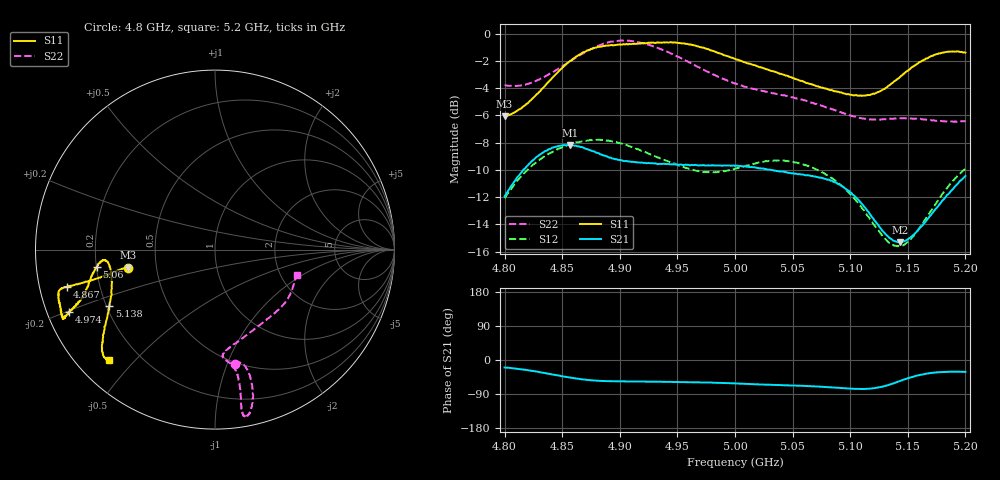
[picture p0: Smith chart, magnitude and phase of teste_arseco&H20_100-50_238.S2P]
! Network Analyzer HP8722D
! Hewlett-Packard
! Data name: Linha & Wilkinson
! Saver's name: Rodrigo Anjos
! Comments: Teste da utilização de aquisição
! continua pelo VNA HP8722D
! Time and date: 6/5/2025 14:33
!  Frequency  S11  S21  S12  S22
# HZ  S  MA R 50
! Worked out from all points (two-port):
!   401 points, 4.8 GHz to 5.2 GHz, reference 50 ohm
!   highest |S21| = -8.17 dB at 4.857 GHz (marker M1); lowest = -15.3 dB at 5.143 GHz (marker M2)
!   |S21| within 3 dB of the highest: 4.806 GHz to 5.093 GHz (286.7 MHz wide, 5.79 % of centre); 5.191409 GHz to end of sweep
!   lowest |S11| = -6.1 dB at 4.8 GHz (marker M3), VSWR 2.98, Z = 17 - j4.56 ohm
!   |S11| at or under -10 dB: nowhere
!   |S22| runs from -6.5 to -0.5 dB; largest |S21 - S12| = 0.62
!   S11 on the Smith chart (normalised r, x): 4.8 GHz: 0.34, -0.09; 4.867 GHz: 0.08, -0.12; 4.974 GHz: 0.06, -0.20; 5.06 GHz: 0.20, -0.07; 5.138 GHz: 0.21, -0.24; 5.2 GHz: 0.09, -0.42
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4.8e9  0.497 -168.2  0.2527 -19.9  0.2489 -140.9  0.648 -80.3
4.828e9  0.6011 -167.1  0.3536 -30.8  0.3387 -144.9  0.6736 -75.4
4.857e9  0.7959 -166.0  0.3903 -46.4  0.3924 -150.4  0.7932 -74.7
4.867e9  0.8486 -165.9  0.3838 -51.1  0.4027 -152.1  0.8437 -75.4
4.88e9  0.8908 -165.5  0.3656 -54.7  0.4083 -154.2  0.8989 -76.8
4.9e9  0.914 -162.8  0.3437 -56.5  0.3963 -156.5  0.9432 -79.2
4.934e9  0.9278 -156.6  0.3326 -57.6  0.3506 -155.7  0.8831 -80.5
4.953e9  0.9243 -155.6  0.3309 -58.1  0.3261 -152.1  0.8136 -79.9
4.974e9  0.8843 -156.9  0.3282 -59.3  0.3112 -145.6  0.733 -79.6
5e9  0.809 -159.0  0.327 -61.8  0.3194 -137.3  0.6563 -81.2
5.036e9  0.7222 -165.8  0.3132 -66.0  0.3419 -134.4  0.6009 -85.7
5.06e9  0.6661 -171.7  0.303 -68.3  0.3302 -136.2  0.5694 -84.2
5.067e9  0.6514 -173.2  0.3004 -69.1  0.3225 -136.8  0.5584 -82.7
5.084e9  0.6216 -174.6  0.2888 -72.4  0.295 -138.4  0.5282 -76.3
5.101e9  0.597 -172.1  0.2604 -75.9  0.2553 -138.8  0.5002 -66.5
5.116e9  0.5954 -165.3  0.2213 -75.9  0.2123 -135.5  0.4857 -55.8
5.134e9  0.6465 -154.2  0.1777 -65.1  0.1704 -120.7  0.4871 -43.3
5.138e9  0.6679 -152.0  0.1736 -61.2  0.1667 -115.5  0.4878 -40.8
5.143e9  0.6919 -149.4  0.1713 -55.7  0.1661 -108.9  0.4891 -38.0
5.154e9  0.7558 -144.5  0.181 -44.3  0.1792 -94.9  0.4879 -32.4
5.174e9  0.8392 -138.6  0.2269 -32.9  0.2365 -80.3  0.4789 -24.0
5.2e9  0.8528 -133.7  0.3004 -31.4  0.3189 -76.9  0.4776 -17.5
